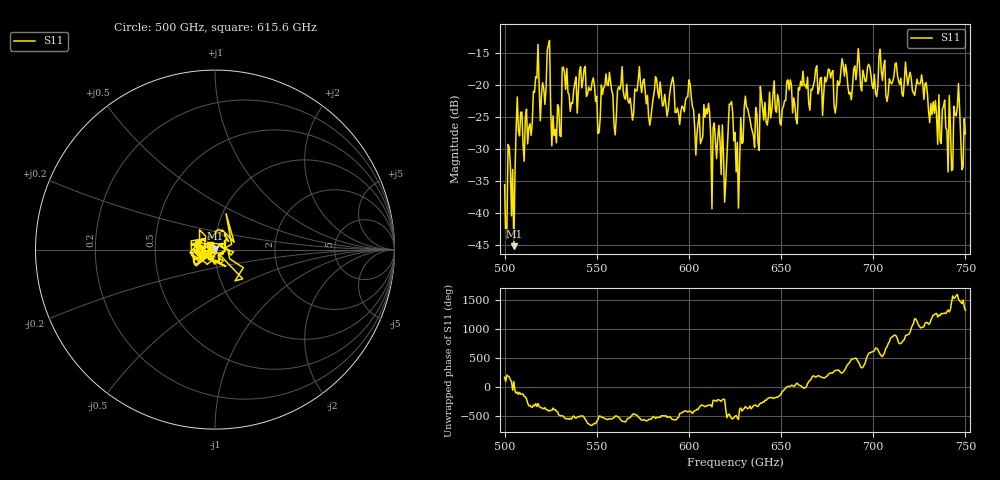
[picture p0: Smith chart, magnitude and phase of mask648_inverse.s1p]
!Created with skrf (http://scikit-rf.org).
# GHz S MA R 50.0
!freq magS11 angS11
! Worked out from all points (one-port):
!   401 points, 500 GHz to 750 GHz, reference 50 ohm
!   lowest |S11| = -45.2 dB at 505 GHz (marker M1), VSWR 1.01, Z = 50 + j0.548 ohm
!   |S11| at or under -10 dB: start of sweep to end of sweep
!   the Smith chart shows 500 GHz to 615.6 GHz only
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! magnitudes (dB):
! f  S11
! 500 GHz  -35.6
! 505 GHz  -45.2
! 507.5 GHz  -27.1
! 513.8 GHz  -26.0
! 516.9 GHz  -18.7
! 520.6 GHz  -19.6
! 523.8 GHz  -13.7
! 526.9 GHz  -27.9
! 531.2 GHz  -17.2
! 542.5 GHz  -19.2
! 550.6 GHz  -27.5
! 562.5 GHz  -20.7
! 579.4 GHz  -25.0
! 590.6 GHz  -19.5
! 593.8 GHz  -23.5
! 609.4 GHz  -23.7
! 618.8 GHz  -30.8
! 622.5 GHz  -23.0
! 625 GHz  -27.4
! 656.2 GHz  -24.3
! 676.9 GHz  -18.9
! 680 GHz  -23.0
! 683.8 GHz  -16.9
! 687.5 GHz  -21.1
! 718.8 GHz  -20.0
! 741.9 GHz  -26.5
! 745 GHz  -24.8
! 750 GHz  -27.6
